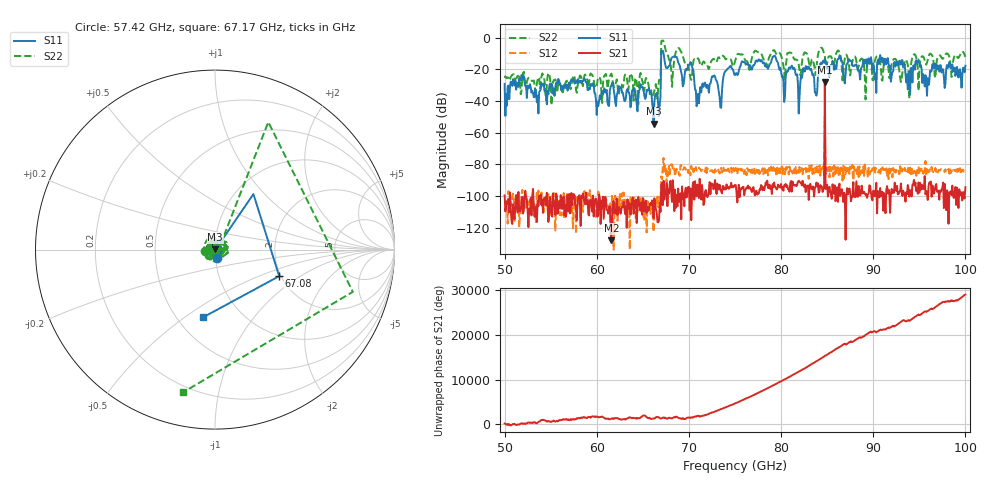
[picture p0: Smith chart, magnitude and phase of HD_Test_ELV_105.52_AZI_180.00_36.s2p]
! 11/25/2026 9:23:19 AM
! C:\ANRITSUVNA\TEMP\TEMP.S2P
! CHANNEL.1
! TR.MEASUREMENT
! RAW.DATA
# HZ S RI R 50.0
! FREQ.HZ  S11RE  S11IM  S21RE  S21IM  S12RE  S12IM  S22RE  S22IM
!; PortSelection: Port_12
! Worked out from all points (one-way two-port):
!   601 points, 50 GHz to 100 GHz, reference 50 ohm
!   highest |S21| = -28.27 dB at 84.75 GHz (marker M1); lowest = -128.0 dB at 61.58 GHz (marker M2)
!   lowest |S11| = -54.3 dB at 66.17 GHz (marker M3), VSWR 1.00, Z = 50.1 + j0.15 ohm
!   |S11| at or under -10 dB: start of sweep to 67 GHz; 67.24 GHz to end of sweep
!   |S22| runs from -42.6 to -1.8 dB; largest |S21 - S12| = 0.039
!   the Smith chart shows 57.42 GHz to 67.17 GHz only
!   S11 on the Smith chart (normalised r, x): 57.42 GHz: 1.02, -0.10; 67.08 GHz: 1.96, -0.68; 67.17 GHz: 0.67, -0.59
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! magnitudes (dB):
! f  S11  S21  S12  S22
! 50 GHz  -29.2  -99.7  -108.2  -25.4
! 57.42 GHz  -26.3  -99.8  -120.5  -25.2
! 58.42 GHz  -27.2  -101.0  -105.8  -29.0
! 60.17 GHz  -43.2  -107.3  -97.3  -24.8
! 61.58 GHz  -30.7  -128.0  -111.0  -22.8
! 66.17 GHz  -54.3  -114.1  -122.8  -35.4
! 66.67 GHz  -41.9  -116.7  -107.0  -32.1
! 67.08 GHz  -8.2  -91.9  -89.4  -1.9
! 67.17 GHz  -8.3  -105.8  -81.6  -1.8
! 70.17 GHz  -15.4  -95.3  -87.0  -25.7
! 70.92 GHz  -40.6  -92.8  -84.1  -13.3
! 75 GHz  -23.7  -93.1  -85.5  -15.0
! 79.25 GHz  -11.8  -91.5  -84.1  -7.9
! 80.25 GHz  -27.5  -96.8  -82.6  -17.6
! 83.42 GHz  -23.8  -94.1  -86.1  -13.7
! 83.83 GHz  -36.6  -91.5  -86.5  -19.5
! 84.75 GHz  -13.3  -28.3  -53.3  -11.8
! 91.67 GHz  -16.7  -96.0  -89.4  -20.4
! 93.75 GHz  -32.7  -93.1  -85.0  -17.3
! 94.83 GHz  -15.0  -98.6  -85.7  -20.3
! 95.83 GHz  -36.8  -98.4  -83.1  -15.9
! 100 GHz  -17.7  -94.5  -83.1  -12.2
